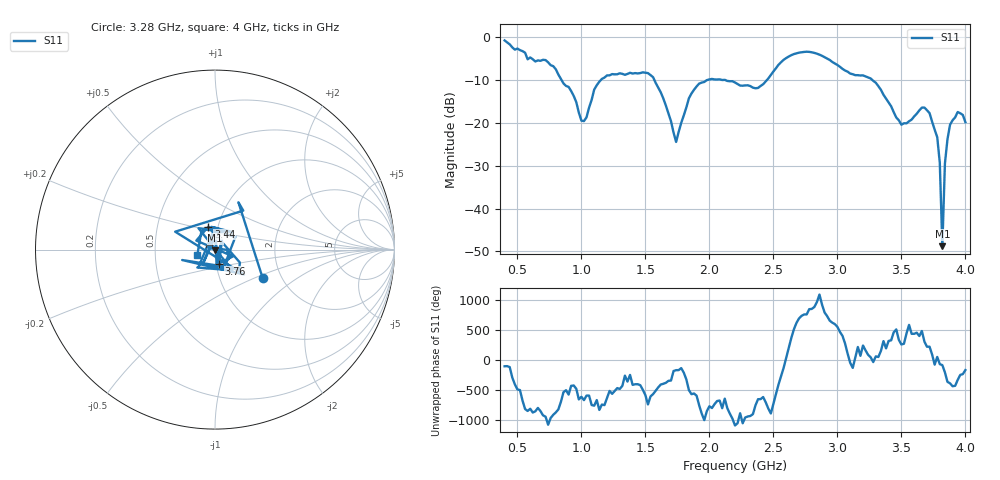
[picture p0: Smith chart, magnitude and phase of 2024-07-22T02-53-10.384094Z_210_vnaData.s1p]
!Created with skrf (http://scikit-rf.org).
# Hz S RI R 50.0
!freq ReS11 ImS11
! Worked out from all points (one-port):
!   181 points, 400 MHz to 4 GHz, reference 50 ohm
!   lowest |S11| = -48.8 dB at 3.82 GHz (marker M1), VSWR 1.01, Z = 50.1 - j0.36 ohm
!   |S11| at or under -10 dB: 1.57 GHz to 1.982 GHz (412.3 MHz wide, 23.2 % of centre); 2.123 GHz to 2.449 GHz (325.8 MHz wide, 14.3 % of centre); 3.273 GHz to end of sweep (the widest 3 of 4)
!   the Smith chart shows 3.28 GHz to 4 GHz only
!   S11 on the Smith chart (normalised r, x): 3.28 GHz: 1.60, -0.56; 3.44 GHz: 0.90, +0.23; 3.76 GHz: 1.03, -0.17; 4 GHz: 0.82, -0.05
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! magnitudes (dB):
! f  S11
! 400 MHz  -0.8
! 720 MHz  -5.3
! 860 MHz  -10.8
! 1.02 GHz  -19.6
! 1.14 GHz  -10.4
! 1.3 GHz  -8.4
! 1.56 GHz  -9.3
! 1.74 GHz  -24.5
! 1.76 GHz  -22.1
! 1.84 GHz  -14.2
! 1.92 GHz  -10.8
! 2.2 GHz  -10.6
! 2.38 GHz  -11.8
! 2.66 GHz  -3.9
! 2.84 GHz  -3.8
! 3.1 GHz  -8.5
! 3.28 GHz  -10.2
! 3.44 GHz  -17.5
! 3.56 GHz  -19.6
! 3.68 GHz  -16.4
! 3.76 GHz  -21.6
! 3.78 GHz  -23.3
! 3.8 GHz  -29.3
! 3.82 GHz  -48.8
! 3.84 GHz  -29.5
! 3.88 GHz  -20.4
! 3.94 GHz  -17.5
! 4 GHz  -19.8
